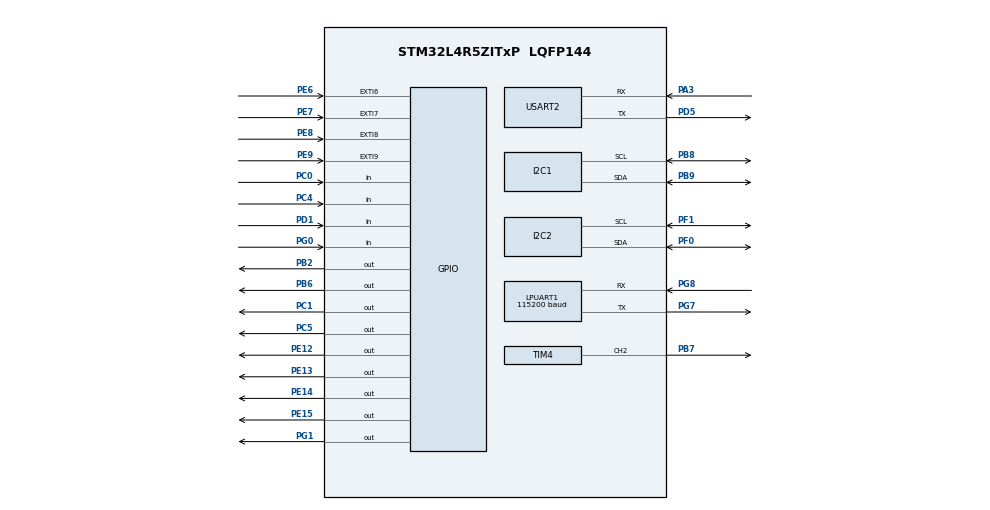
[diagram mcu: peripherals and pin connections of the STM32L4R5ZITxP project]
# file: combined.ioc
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Dma.Request0=USART2_RX
Dma.USART2_RX.0.Direction=DMA_PERIPH_TO_MEMORY
Dma.USART2_RX.0.EventEnable=DISABLE
Dma.USART2_RX.0.Instance=DMA1_Channel1
Dma.USART2_RX.0.MemDataAlignment=DMA_MDATAALIGN_BYTE
Dma.USART2_RX.0.MemInc=DMA_MINC_ENABLE
Dma.USART2_RX.0.Mode=DMA_NORMAL
Dma.USART2_RX.0.PeriphDataAlignment=DMA_PDATAALIGN_BYTE
Dma.USART2_RX.0.PeriphInc=DMA_PINC_DISABLE
Dma.USART2_RX.0.Polarity=HAL_DMAMUX_REQUEST_GEN_RISING
Dma.USART2_RX.0.Priority=DMA_PRIORITY_LOW
Dma.USART2_RX.0.RequestNumber=1
Dma.USART2_RX.0.SignalID=NONE
Dma.USART2_RX.0.SyncEnable=DISABLE
Dma.USART2_RX.0.SyncPolarity=HAL_DMAMUX_SYNC_NO_EVENT
Dma.USART2_RX.0.SyncRequestNumber=1
Dma.USART2_RX.0.SyncSignalID=NONE
I2C2.OwnAddress=10
LPUART1.BaudRate=115200
LPUART1.WordLength=UART_WORDLENGTH_8B
Mcu.Family=STM32L4
Mcu.Name=STM32L4R5ZITxP
Mcu.Package=LQFP144
NVIC.DMA1_Channel1_IRQn=true\:1\:0\:true\:false\:true\:false\:true\:true
NVIC.EXTI9_5_IRQn=true\:0\:0\:false\:false\:true\:true\:true\:true
NVIC.PriorityGroup=NVIC_PRIORITYGROUP_4
PA0.Signal=S_TIM2_CH1
PA1.Signal=ADCx_IN6
PA10.Signal=USB_OTG_FS_ID
PA13\ (JTMS/SWDIO).Mode=Serial_Wire
PA13\ (JTMS/SWDIO).Signal=SYS_JTMS-SWDIO
PA14\ (JTCK/SWCLK).Mode=Serial_Wire
PA14\ (JTCK/SWCLK).Signal=SYS_JTCK-SWCLK
PA3.Mode=Asynchronous
PA3.Signal=USART2_RX
PA4.Signal=SPI1_NSS
PA5.Signal=SPI1_SCK
PA6.Signal=SPI1_MISO
PA7.Signal=SPI1_MOSI
PA8.Signal=USB_OTG_FS_SOF
PA9.Signal=USB_OTG_FS_VBUS
PB0.Signal=S_TIM3_CH3
PB1.Signal=ADCx_IN16
PB10.Signal=S_TIM2_CH3
PB12.Signal=SAI2_FS_A
PB13.Signal=SAI2_SCK_A
PB14.Signal=S_TIM15_CH1
PB15.Signal=SAI2_SD_A
PB2.Signal=GPIO_Output
PB3\ (JTDO/TRACESWO).Signal=SPI3_SCK
PB4\ (NJTRST).Signal=SPI3_MISO
PB5.Signal=SPI3_MOSI
PB6.Signal=GPIO_Output
PB7.Signal=S_TIM4_CH2
PB8.Mode=I2C
PB8.Signal=I2C1_SCL
PB9.Mode=I2C
PB9.Signal=I2C1_SDA
PC0.Signal=GPIO_Input
PC1.Signal=GPIO_Output
PC10.Signal=SDMMC1_D2
PC11.Signal=SDMMC1_D3
PC12.Signal=SDMMC1_CK
PC13.Signal=SYS_WKUP2
PC14-OSC32_IN\ (PC14).Signal=RCC_OSC32_IN
PC15-OSC32_OUT\ (PC15).Signal=RCC_OSC32_OUT
PC2.Signal=ADCx_IN3
PC3.Signal=ADCx_IN4
PC4.Signal=GPIO_Input
PC5.Signal=GPIO_Output
PC6.Signal=SAI2_MCLK_A
PC7.Signal=S_TIM3_CH2
PC8.Signal=SDMMC1_D0
PC9.Signal=SDMMC1_D1
PD0.Signal=CAN1_RX
PD1.Signal=GPIO_Input
PD14.Signal=S_TIM4_CH3
PD15.Signal=S_TIM4_CH4
PD2.Signal=SDMMC1_CMD
PD3.Signal=USART2_CTS
PD4.Signal=USART2_RTS
PD5.Mode=Asynchronous
PD5.Signal=USART2_TX
PD8.Signal=USART3_TX
PD9.Signal=USART3_RX
PE0.Signal=S_TIM4_ETR
PE10.Signal=TIM1_CH2N
PE11.Signal=S_TIM1_CH2
PE12.Signal=GPIO_Output
PE13.Signal=GPIO_Output
PE14.Signal=GPIO_Output
PE15.Signal=GPIO_Output
PE2.Signal=SAI1_MCLK_A
PE3.Signal=SAI1_SD_B
PE6.GPIO_PuPd=GPIO_PULLDOWN
PE6.Signal=GPXTI6
PE7.GPIO_PuPd=GPIO_PULLDOWN
PE7.Signal=GPXTI7
PE8.GPIO_PuPd=GPIO_PULLDOWN
PE8.Signal=GPXTI8
PE9.GPIO_PuPd=GPIO_PULLDOWN
PE9.Signal=GPXTI9
PF0.Mode=I2C
PF0.Signal=I2C2_SDA
PF1.Mode=I2C
PF1.Signal=I2C2_SCL
PF2.Signal=I2C2_SMBA
PF7.Signal=SAI1_MCLK_B
PG0.Signal=GPIO_Input
PG1.Signal=GPIO_Output
PG7.Mode=Asynchronous
PG7.Signal=LPUART1_TX
PG8.Mode=Asynchronous
PG8.Signal=LPUART1_RX
PH0-OSC_IN\ (PH0).Signal=RCC_OSC_IN
PH1-OSC_OUT\ (PH1).Signal=RCC_OSC_OUT
ProjectManager.HeapSize=0x200
ProjectManager.StackSize=0x400
ProjectManager.TargetToolchain=STM32CubeIDE
RCC.HSE_VALUE=8000000
RCC.HSI48_VALUE=48000000
RCC.HSI_VALUE=16000000
RCC.LSE_VALUE=32768
RCC.MSI_VALUE=4000000
RCC.VCOOutputFreq_Value=32000000
SH.ADCx_IN16.0=ADC1_IN16
SH.ADCx_IN3.0=ADC1_IN3
SH.ADCx_IN4.0=ADC1_IN4
SH.ADCx_IN6.0=ADC1_IN6
SH.S_TIM15_CH1.0=TIM15_CH1
SH.S_TIM1_CH2.0=TIM1_CH2
SH.S_TIM2_CH1.0=TIM2_CH1
SH.S_TIM2_CH3.0=TIM2_CH3
SH.S_TIM3_CH2.0=TIM3_CH2
SH.S_TIM3_CH3.0=TIM3_CH3
SH.S_TIM4_CH2.0=TIM4_CH2,PWM Generation2 CH2
SH.S_TIM4_CH3.0=TIM4_CH3
SH.S_TIM4_CH4.0=TIM4_CH4
SH.S_TIM4_ETR.0=TIM4_ETR
TIM4.Channel-PWM\ Generation2\ CH2=TIM_CHANNEL_2
TIM4.Period=3999
TIM4.Prescaler=19
USART2.FIFOMode=FIFOMODE_ENABLE
USART2.VirtualMode-Asynchronous=VM_ASYNC
VP_TIM4_VS_ClockSourceINT.Mode=Internal
board=NUCLEO-L4R5ZI-P

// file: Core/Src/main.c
/* USER CODE BEGIN Header */
/**
 ******************************************************************************
 * @file           : main.c
 * @brief          : Main program body
 ******************************************************************************
 * @attention
 *
 * Copyright (c) 2023 STMicroelectronics.
 * All rights reserved.
 *
 * This software is licensed under terms that can be found in the LICENSE file
 * in the root directory of this software component.
 * If no LICENSE file comes with this software, it is provided AS-IS.
 *
 ******************************************************************************
 */
/* USER CODE END Header */
#include "main.h"

/* USER CODE BEGIN Includes */
#include "HX711.h"
#include "stdio.h"
#include <string.h>
#include <math.h>
#include <stdlib.h>
#include "ssd1306.h"
#include "ssd1306_fonts.h"
#include "ssd1306_conf.h"

/* USER CODE END Includes */

/* USER CODE BEGIN PD */
#define RCC_ADDR 0x40021000
#define RCC_AHB2ENR_OFFSET 0x4C
#define RCC_APB1ENR1_OFFSET 0X58
#define GPIOB_ADDR 0X48000400
#define GPIO_MODER_OFFSET 0X00
#define GPIO_AFRL_OFFSET 0X20
#define GPIO_PUPDR_OFFSET 0X0C

#define TIM4_ADDR 0x40000800//timer 4 base register
#define TIM_CR1_OFFSET 0x00//control register 1
#define TIM_PSC_OFFSET 0x28//prescaler
#define TIM_ARR_OFFSET 0x2C// auto reload value
#define TIM_CCMR1_OFFSET 0x18//capture compare mode register
#define TIM_CCER_OFFSET 0x20//capture/compare enable register
#define TIM_CCR2_OFFSET 0x38//capture/compare register 2
#define CCR_MASK 0xFFFF
#define PAGENUM 2
#define HISTORY 20
/* USER CODE END PD */

/* USER CODE BEGIN PM */
hx711_t food;
hx711_t pet;
hx711_t water;
/* USER CODE END PM */

I2C_HandleTypeDef hi2c1;
I2C_HandleTypeDef hi2c2;

UART_HandleTypeDef hlpuart1;
UART_HandleTypeDef huart2;
DMA_HandleTypeDef hdma_usart2_rx;

TIM_HandleTypeDef htim4;

/* USER CODE BEGIN PV */
// aht10
uint8_t AHT10_RX_Data[6];
uint32_t AHT10_ADC_Raw;
float AHT10_Temperature, AHT10_Humidity;
uint8_t AHT10_TmpHum_Cmd = 0xAC;
#define AHT10_Adress 0x38 << 1
// load cell
float pet_weight[3] = {0,0,0};
float petweight = 0;
float consumed_food = 0; // food consumed in one day, remember to substract remaining food when a day ends and set it to remaining food weight
// after transferring the data, add the remaining food weight to consumed_food, just before the next transmit, subtract the food weight.
float consumed_water = 0;
float history_food[HISTORY];
float history_water[HISTORY];
float history_pet[HISTORY];
float history_temp[HISTORY];
float history_hum[HISTORY];

// keypad
GPIO_InitTypeDef GPIO_InitStructPrivate = {0};
uint32_t previousMillis = 0;
uint32_t currentMillis = 0;
uint8_t keyPressed = 0;
uint8_t is_press = 0;
// status
uint8_t status = 0; // 0: menu, 1: calibration, 2: measurement
uint8_t dirty = 0;
uint8_t page = 0;
uint8_t disPage = 0;
uint8_t hisPage = 0;
uint8_t line[32];
uint8_t petWarning = 0;
double foodFresh = 100;
double waterFresh = 100;
int8_t warningInfo[2] = {0,0};
//timer
TIM_HandleTypeDef htim5;
int timer5_food_count = -1;
int timer5_water_count = -1;
uint8_t buffer[32]={0};
uint8_t ask_for_warning[32]={'%'};

HAL_StatusTypeDef ret;

/* USER CODE END PV */

void SystemClock_Config(void);
static void MX_GPIO_Init(void);
static void MX_DMA_Init(void);
static void MX_LPUART1_UART_Init(void);
static void MX_I2C1_Init(void);
static void MX_TIM4_Init(void);
static void MX_USART2_UART_Init(void);
static void MX_I2C2_Init(void);
/* USER CODE BEGIN PFP */
void HAL_TIM_PeriodElapsedCallback(TIM_HandleTypeDef *htim);
/* USER CODE END PFP */

int main(void)
{
  /* USER CODE BEGIN 1 */
	uint32_t * tim4_ccr2 = (uint32_t *)(TIM4_ADDR + TIM_CCR2_OFFSET);

	for (int i = 0; i < 32; i++) {
		line[i] = 0x20;  // Assign space character to each element
	}

  /* USER CODE END 1 */

  /* MCU Configuration--------------------------------------------------------*/

  /* Reset of all peripherals, Initializes the Flash interface and the Systick. */
  HAL_Init();

  /* Configure the system clock */
  SystemClock_Config();

  /* Initialize all configured peripherals */
  MX_GPIO_Init();
  MX_DMA_Init();
  MX_LPUART1_UART_Init();
  MX_I2C1_Init();
  MX_TIM4_Init();
  MX_USART2_UART_Init();
  MX_I2C2_Init();
  /* USER CODE BEGIN 2 */
	HAL_UART_Receive_DMA(&huart2, buffer, 32);

	HAL_TIM_Base_Start_IT(&htim5);
	hx711_init(&food, GPIOC, GPIO_PIN_1, GPIOC, GPIO_PIN_0); // clk: c1 data: c0
	hx711_init(&water, GPIOG, GPIO_PIN_1, GPIOG, GPIO_PIN_0); // clk: g1 data: g0
	hx711_init(&pet, GPIOC, GPIO_PIN_5, GPIOC, GPIO_PIN_4); // clk: c5 data: c4
	set_scale(&food, 1, 1);
	food.Aoffset = 16190;
	food.Ascale = -722.879456;
	set_scale(&water, 1, 1);
	water.Aoffset = 43813;
	water.Ascale = -741.790161;
	set_scale(&pet, 1, 1);
	pet.Aoffset = 274649;
	pet.Ascale = -53.3035698;

	// initial interrupt
	HAL_GPIO_WritePin(GPIOE, GPIO_PIN_15, 1);
	HAL_GPIO_WritePin(GPIOE, GPIO_PIN_14, 1);
	HAL_GPIO_WritePin(GPIOE, GPIO_PIN_13, 1);
	HAL_GPIO_WritePin(GPIOE, GPIO_PIN_12, 1);

	// display
	char output;
	char buf[20];
	ssd1306_Init();
	ssd1306_SetCursor(2,2);
	output = ssd1306_WriteString(" Initializing... ", Font_7x10, White);
	ssd1306_UpdateScreen();
  /* USER CODE END 2 */

  /* Infinite loop */
  /* USER CODE BEGIN WHILE */
	ssd1306_Init();
	dirty = 1;
	HAL_TIM_PWM_Start(&htim4, TIM_CHANNEL_2);

	while (1)
	{
		if (petWarning)
		{
			uint8_t y = 28;
			if(dirty)
			{
				ssd1306_Init();
				dirty = 0;
			}
			ssd1306_SetCursor(2,2);
			if (petWarning == 1) ssd1306_WriteString("   SUGGESTION   ", Font_7x10, White);
			else ssd1306_WriteString("  !!!WARNING!!!   ", Font_7x10, White);
			ssd1306_SetCursor(2,16);
			ssd1306_WriteString("Yesterday your pet", Font_7x10, White);
			if (warningInfo[0] == 1)
			{
				ssd1306_SetCursor(2,y);
				ssd1306_WriteString("Ate too much!", Font_7x10, White);
				y += 12;
			}
			else if (warningInfo[0] == -1)
			{
				ssd1306_SetCursor(2,y);
				ssd1306_WriteString("Ate too little!", Font_7x10, White);
				y += 12;
			}
			warningInfo[0] = 0;
			if (warningInfo[1] == 1)
			{
				ssd1306_SetCursor(2,y);
				ssd1306_WriteString("Drank too much!", Font_7x10, White);
				y += 12;
			}
			else if (warningInfo[1] == -1)
			{
				ssd1306_SetCursor(2,y);
				ssd1306_WriteString("Drank too little!", Font_7x10, White);
				y += 12;
			}
			ssd1306_SetCursor(2,52);
			ssd1306_WriteString("ENTER-Continue", Font_7x10, White);
			ssd1306_UpdateScreen();
			warningInfo[1] = 0;
			if (is_press && keyPressed == 35)
			{
				petWarning = 0;
				is_press = 0;
				dirty = 1;
			}
		}
		else if (foodFresh < 0 || waterFresh < 0)
		{
			if (dirty)
			{
				ssd1306_Init();
				dirty = 0;
			}
			uint8_t y = 16;
			if (foodFresh < 0)
			{
				ssd1306_SetCursor(2,y);
				ssd1306_WriteString("Food not fresh!", Font_7x10, White);
				y += 12;
			}
			if (waterFresh < 0)
			{
				ssd1306_SetCursor(2,y);
				ssd1306_WriteString("Water not fresh!", Font_7x10, White);
				y += 12;
			}
			ssd1306_SetCursor(2,52);
			ssd1306_WriteString("ENTER-Continue", Font_7x10, White);
			ssd1306_UpdateScreen();
			if (is_press && keyPressed == 35)
			{
				if (foodFresh < 0)foodFresh = 100;
				if (waterFresh < 0)waterFresh = 100;
				is_press = 0;
			}
		}
		else
		{
			if (is_press)
			{
				if (status == 0 && !dirty)
				{
					if (keyPressed == 35)
					{
						page = (page + 1) % PAGENUM;
					}
				}
				if (status == 4 && !dirty)
				{
					if (keyPressed == 35)
					{
						disPage = (disPage + 1) % 3;
					}
				}
				if (status == 5 && !dirty)
				{
					if (keyPressed == 49) // 1: food
					{
						calibrate(&food);
						status = 0;
					}
					else if (keyPressed == 50) //2: water
					{
						calibrate(&water);
						status = 0;
					}
					else if (keyPressed == 51) //3. pet
					{
						calibrate(&pet);
						status = 0;
					}
				}
				if (status == 6 && !dirty)
				{
					if (keyPressed == 35)
					{
						hisPage = (hisPage + 1) % HISTORY;
					}
					else if (keyPressed == 42)
					{
						hisPage = (hisPage + HISTORY - 1) % HISTORY;
					}
				}
				switch (keyPressed)
				{
				case 65: // A
					break;
				case 66: // B
					HAL_UART_Transmit(&huart2, ask_for_warning, 32, 500);
					HAL_Delay(15000);
					break;
				case 67: // C
					//				HAL_UART_Transmit(&huart2, line, 32, 500);
					//				HAL_UART_Transmit(&huart2, data, 32, 500);

					HAL_Delay(2000);
					//				ret = HAL_I2C_Slave_Receive(&hi2c2, buffer, 32, 400);
					break;
				case 68: // D
					status = 0;
					break;
				case 48: // 0

					break;
				case 49: // 1
					status = 1;
					break;
				case 50: // 2
					status = 2;
					break;
				case 51: // 3
					status = 3;
					break;
				case 52: // 4
					status = 4;
					break;
				case 53: // 5
					status = 5;
					break;
				case 54: // 6
					status = 6;
					hisPage = 0;
					break;
				case 55: // 7
					status = 7;
					break;
				case 56: // 8
					break;
				case 57: // 9

					break;
				case 42: // *

					break;
				case 35: // #

					break;
				}
				dirty = 1;
				is_press = 0;
				keyPressed = 0;
			}

			if (status == 0) {
				display_menu();
				pet_weight[2] = pet_weight[1];
				pet_weight[1] = pet_weight[0];
				pet_weight[0] = get_weight(&pet, 10, CHANNEL_A); //get weight
				float average = (pet_weight[2] + pet_weight[1] + pet_weight[0]) / 3.0;
				if (((abs(pet_weight[2] - average)+abs(pet_weight[1] - average)+abs(pet_weight[0] - average)) < (average / 10.0)) && average > 50)
					petweight = floor(pet_weight[1]*10)/10.0;
			}

			else if (status == 5) {
				if (dirty)
				{
					ssd1306_Init();
					ssd1306_SetCursor(0,2);
					ssd1306_WriteString("    Calibration    ", Font_7x10, White);
					ssd1306_SetCursor(2,16);
					ssd1306_WriteString("1-Food Load Cell", Font_7x10, White);
					ssd1306_SetCursor(2,28);
					ssd1306_WriteString("2-Water Load Cell", Font_7x10, White);
					ssd1306_SetCursor(2,40);
					ssd1306_WriteString("3-Pet Load Cell", Font_7x10, White);

					ssd1306_UpdateScreen();
					dirty = 0;
				}
			}

			else if (status == 4) {
				if (dirty)
				{
					ssd1306_Init();
					ssd1306_SetCursor(2,2);
					output = ssd1306_WriteString("PET FEEDER STATUS ", Font_7x10, White);
					ssd1306_UpdateScreen();
					dirty = 0;
				}

				pet_weight[2] = pet_weight[1];
				pet_weight[1] = pet_weight[0];
				pet_weight[0] = get_weight(&pet, 10, CHANNEL_A); //get weight
				float average = (pet_weight[2] + pet_weight[1] + pet_weight[0]) / 3.0;
				if (((abs(pet_weight[2] - average)+abs(pet_weight[1] - average)+abs(pet_weight[0] - average)) < (average / 10.0)) && average > 50)
					petweight = floor(pet_weight[1]*10)/10.0;

				if (disPage == 0)
				{
					float food_weight = floor(get_weight(&food, 10, CHANNEL_A) * 10) / 10.0; //get weight
					float water_weight = floor(get_weight(&water, 10, CHANNEL_A) * 10) / 10.0; //get weight
					gcvt(food_weight, 6, buf);
					ssd1306_SetCursor(2,16);
					output = ssd1306_WriteString("Food: ", Font_7x10, White);
					output = ssd1306_WriteString(buf, Font_7x10, White);
					output = ssd1306_WriteString(" g            ", Font_7x10, White);
					gcvt(water_weight, 6, buf);
					ssd1306_SetCursor(2,28);
					output = ssd1306_WriteString("Water: ", Font_7x10, White);
					output = ssd1306_WriteString(buf, Font_7x10, White);
					output = ssd1306_WriteString(" g            ", Font_7x10, White);
					gcvt(petweight, 6, buf);
					ssd1306_SetCursor(2,40);
					output = ssd1306_WriteString("Pet: ", Font_7x10, White);
					output = ssd1306_WriteString(buf, Font_7x10, White);
					output = ssd1306_WriteString(" g            ", Font_7x10, White);
					gcvt(AHT10_Temperature, 3, buf);
					ssd1306_SetCursor(2,52);
					ssd1306_WriteString("ENTER-Next Page", Font_7x10, White);
				}
				else if (disPage == 1)
				{
					HAL_I2C_Master_Transmit(&hi2c1, AHT10_Adress, &AHT10_TmpHum_Cmd, 1, 100);
					HAL_Delay(1000);
					HAL_I2C_Master_Receive(&hi2c1, AHT10_Adress, (uint8_t*)AHT10_RX_Data, 6, 100);
					/* Convert to Temperature in °C */
					AHT10_ADC_Raw = (((uint32_t)AHT10_RX_Data[3] & 15) << 16) | ((uint32_t)AHT10_RX_Data[4] << 8) | AHT10_RX_Data[5];
					AHT10_Temperature = (float)floor(((AHT10_ADC_Raw * 200.00 / 1048576.00) - 50.00) * 10) / 10.0;
					AHT10_ADC_Raw = ((uint32_t)AHT10_RX_Data[1] << 12) | ((uint32_t)AHT10_RX_Data[2] << 4) | (AHT10_RX_Data[3] >> 4);
					AHT10_Humidity = (float)floor((AHT10_ADC_Raw*100.00/1048576.00) * 10) / 10.0;
					gcvt(AHT10_Temperature, 3, buf);
					ssd1306_SetCursor(2,16);
					output = ssd1306_WriteString("Temp: ", Font_7x10, White);
					output = ssd1306_WriteString(buf, Font_7x10, White);
					output = ssd1306_WriteString(" C             ", Font_7x10, White);
					gcvt(AHT10_Humidity, 3, buf);
					ssd1306_SetCursor(2,28);
					output = ssd1306_WriteString("Humidity: ", Font_7x10, White);
					output = ssd1306_WriteString(buf, Font_7x10, White);
					output = ssd1306_WriteString(" %            ", Font_7x10, White);
					ssd1306_SetCursor(2,52);
					ssd1306_WriteString("ENTER-Next Page", Font_7x10, White);
				}
				else if (disPage == 2)
				{
					gcvt(foodFresh, 4, buf);
					ssd1306_SetCursor(2,16);
					output = ssd1306_WriteString("Food Fresh:", Font_6x8, White);
					output = ssd1306_WriteString(buf, Font_7x10, White);
					output = ssd1306_WriteString(" %             ", Font_7x10, White);
					gcvt(waterFresh, 4, buf);
					ssd1306_SetCursor(2,28);
					output = ssd1306_WriteString("Water Fresh:", Font_6x8, White);
					output = ssd1306_WriteString(buf, Font_7x10, White);
					output = ssd1306_WriteString(" %            ", Font_7x10, White);
					ssd1306_SetCursor(2,52);
					ssd1306_WriteString("ENTER-Next Page", Font_7x10, White);
				}
				ssd1306_UpdateScreen();
			}

			else if (status == 1) {
				release_food(tim4_ccr2);
				status = 0;
			}

			else if (status == 2) {
				release_water();
				status = 0;
			}

			else if (status == 3){
				if(dirty)
				{
					ssd1306_Init();
					dirty = 0;
				}
				float food_weight0 = floor(get_weight(&food, 10, CHANNEL_A) * 10) / 10.0;
				float water_weight0 = floor(get_weight(&water, 10, CHANNEL_A) * 10) / 10.0;
				ssd1306_SetCursor(2,16);
				ssd1306_WriteString("ADD FOOD & WATER", Font_7x10, White);
				ssd1306_SetCursor(2,28);
				ssd1306_WriteString("THEN PRESS ENTER", Font_7x10, White);
				ssd1306_UpdateScreen();
				dirty = 1;
				while(1)
				{
					if (is_press && keyPressed == 35)
					{
						float food_weight1 = floor(get_weight(&food, 10, CHANNEL_A) * 10) / 10.0;
						float water_weight1 = floor(get_weight(&water, 10, CHANNEL_A) * 10) / 10.0;
						consumed_food = consumed_food + food_weight1 - food_weight0;
						consumed_water = consumed_water + water_weight1 - water_weight0;
						status = 0;
						break;
					}
					else if (is_press && keyPressed == 68)
					{
						status = 0;
						break;
					}
				}
			}

			else if (status == 6)
			{
				if(dirty)
				{
					ssd1306_Init();
					dirty = 0;
				}
				gcvt(history_food[hisPage], 6, buf);
				ssd1306_SetCursor(2,2);
				output = ssd1306_WriteString("food: ", Font_7x10, White);
				output = ssd1306_WriteString(buf, Font_7x10, White);
				output = ssd1306_WriteString(" g            ", Font_7x10, White);
				gcvt(history_water[hisPage], 6, buf);
				ssd1306_SetCursor(2,16);
				output = ssd1306_WriteString("water: ", Font_7x10, White);
				output = ssd1306_WriteString(buf, Font_7x10, White);
				output = ssd1306_WriteString(" g            ", Font_7x10, White);
				gcvt(history_pet[hisPage], 6, buf);
				ssd1306_SetCursor(2,28);
				output = ssd1306_WriteString("pet: ", Font_7x10, White);
				output = ssd1306_WriteString(buf, Font_7x10, White);
				output = ssd1306_WriteString(" g            ", Font_7x10, White);
				gcvt(history_temp[hisPage], 3, buf);
				ssd1306_SetCursor(2,40);
				output = ssd1306_WriteString("temp: ", Font_7x10, White);
				output = ssd1306_WriteString(buf, Font_7x10, White);
				output = ssd1306_WriteString(" C             ", Font_7x10, White);
				gcvt(history_hum[hisPage], 3, buf);
				ssd1306_SetCursor(2,52);
				output = ssd1306_WriteString("humidity: ", Font_7x10, White);
				output = ssd1306_WriteString(buf, Font_7x10, White);
				output = ssd1306_WriteString(" %            ", Font_7x10, White);
				ssd1306_UpdateScreen();
			}
			else if (status == 7) // store the data
			{
				for (int i= HISTORY - 2; i>=0; i--)
				{
					history_food[i+1] = history_food[i];
					history_water[i+1] = history_water[i];
					history_pet[i+1] = history_pet[i];
					history_temp[i+1] = history_temp[i];
					history_hum[i+1] = 	history_hum[i];
				}
				float food_weight = floor(get_weight(&food, 10, CHANNEL_A) * 10) / 10.0; // weight*10
				float water_weight = floor(get_weight(&water, 10, CHANNEL_A) * 10) / 10.0;
				HAL_I2C_Master_Receive(&hi2c1, AHT10_Adress, (uint8_t*)AHT10_RX_Data, 6, 100);
				AHT10_ADC_Raw = (((uint32_t)AHT10_RX_Data[3] & 15) << 16) | ((uint32_t)AHT10_RX_Data[4] << 8) | AHT10_RX_Data[5];
				float AHT10_Temp = floor(((AHT10_ADC_Raw * 200.00 / 1048576.00) - 50.00) * 10) / 10.0;
				AHT10_ADC_Raw = ((uint32_t)AHT10_RX_Data[1] << 12) | ((uint32_t)AHT10_RX_Data[2] << 4) | (AHT10_RX_Data[3] >> 4);
				float AHT10_Humid = floor((AHT10_ADC_Raw*100.00/1048576.00) * 10) / 10.0;

				//			int petweight0 = floor(petweight * 10);
				//			int consumedfood = floor(consumed_food*10);
				//			int consumedwater = floor(consumed_water*10);
				history_food[0] = consumed_food - food_weight;
				history_water[0] = consumed_water - water_weight;
				history_pet[0] = petweight;
				history_temp[0] = AHT10_Temp;
				history_hum[0] = 	AHT10_Humid;
				consumed_food = food_weight;
				consumed_water = water_weight;
				float foodRatio = (history_food[1] + history_food[2] + history_food[3] + history_food[4] + 0.1)/history_food[0];
				float waterRatio = (history_water[1] + history_water[2] + history_water[3] + history_water[4] + 0.1)/history_water[0];
				if (foodRatio > 1.4*4) {warningInfo[0] = -1; ++petWarning;}
				if (foodRatio > 2*4) {warningInfo[0] = -1; petWarning+=10;}
				if (foodRatio < 0.7*4) {warningInfo[0] = 1; ++petWarning;}
				if (foodRatio < 0.5*4) {warningInfo[0] = 1; petWarning+=10;}
				if (waterRatio > 1.4*4) {warningInfo[1] = -1; ++petWarning;}
				if (waterRatio > 2*4) {warningInfo[1] = -1; petWarning+=10;}
				if (waterRatio < 0.7*4) {warningInfo[1] = 1; ++petWarning;}
				if (waterRatio < 0.5*4) {warningInfo[1] = 1; petWarning+=10;}
				waterFresh = floor((waterFresh - ((AHT10_Temp + 40)*(AHT10_Temp + 40)/60.0))*10) / 10.0;
				foodFresh = floor((foodFresh - ((AHT10_Temp + 40)*(AHT10_Temp + 40)*(AHT10_Humid + 50) / 20000.0))*10)/10.0;
				status = 0;
			}
		}
    /* USER CODE END WHILE */

	}
}

void SystemClock_Config(void)
{
  RCC_OscInitTypeDef RCC_OscInitStruct = {0};
  RCC_ClkInitTypeDef RCC_ClkInitStruct = {0};

  /** Configure the main internal regulator output voltage
  */
  if (HAL_PWREx_ControlVoltageScaling(PWR_REGULATOR_VOLTAGE_SCALE1) != HAL_OK)
  {
    Error_Handler();
  }

  /** Initializes the RCC Oscillators according to the specified parameters
  * in the RCC_OscInitTypeDef structure.
  */
  RCC_OscInitStruct.OscillatorType = RCC_OSCILLATORTYPE_MSI;
  RCC_OscInitStruct.MSIState = RCC_MSI_ON;
  RCC_OscInitStruct.MSICalibrationValue = 0;
  RCC_OscInitStruct.MSIClockRange = RCC_MSIRANGE_6;
  RCC_OscInitStruct.PLL.PLLState = RCC_PLL_NONE;
  if (HAL_RCC_OscConfig(&RCC_OscInitStruct) != HAL_OK)
  {
    Error_Handler();
  }

  /** Initializes the CPU, AHB and APB buses clocks
  */
  RCC_ClkInitStruct.ClockType = RCC_CLOCKTYPE_HCLK|RCC_CLOCKTYPE_SYSCLK
                              |RCC_CLOCKTYPE_PCLK1|RCC_CLOCKTYPE_PCLK2;
  RCC_ClkInitStruct.SYSCLKSource = RCC_SYSCLKSOURCE_MSI;
  RCC_ClkInitStruct.AHBCLKDivider = RCC_SYSCLK_DIV1;
  RCC_ClkInitStruct.APB1CLKDivider = RCC_HCLK_DIV1;
  RCC_ClkInitStruct.APB2CLKDivider = RCC_HCLK_DIV1;

  if (HAL_RCC_ClockConfig(&RCC_ClkInitStruct, FLASH_LATENCY_0) != HAL_OK)
  {
    Error_Handler();
  }
}

static void MX_I2C1_Init(void)
{

  hi2c1.Instance = I2C1;
  hi2c1.Init.Timing = 0x00000E14;
  hi2c1.Init.OwnAddress1 = 0;
  hi2c1.Init.AddressingMode = I2C_ADDRESSINGMODE_7BIT;
  hi2c1.Init.DualAddressMode = I2C_DUALADDRESS_DISABLE;
  hi2c1.Init.OwnAddress2 = 0;
  hi2c1.Init.OwnAddress2Masks = I2C_OA2_NOMASK;
  hi2c1.Init.GeneralCallMode = I2C_GENERALCALL_DISABLE;
  hi2c1.Init.NoStretchMode = I2C_NOSTRETCH_DISABLE;
  if (HAL_I2C_Init(&hi2c1) != HAL_OK)
  {
    Error_Handler();
  }

  /** Configure Analogue filter
  */
  if (HAL_I2CEx_ConfigAnalogFilter(&hi2c1, I2C_ANALOGFILTER_ENABLE) != HAL_OK)
  {
    Error_Handler();
  }

  /** Configure Digital filter
  */
  if (HAL_I2CEx_ConfigDigitalFilter(&hi2c1, 0) != HAL_OK)
  {
    Error_Handler();
  }

}

static void MX_I2C2_Init(void)
{

  hi2c2.Instance = I2C2;
  hi2c2.Init.Timing = 0x00000E14;
  hi2c2.Init.OwnAddress1 = 20;
  hi2c2.Init.AddressingMode = I2C_ADDRESSINGMODE_7BIT;
  hi2c2.Init.DualAddressMode = I2C_DUALADDRESS_DISABLE;
  hi2c2.Init.OwnAddress2 = 0;
  hi2c2.Init.OwnAddress2Masks = I2C_OA2_NOMASK;
  hi2c2.Init.GeneralCallMode = I2C_GENERALCALL_DISABLE;
  hi2c2.Init.NoStretchMode = I2C_NOSTRETCH_DISABLE;
  if (HAL_I2C_Init(&hi2c2) != HAL_OK)
  {
    Error_Handler();
  }

  /** Configure Analogue filter
  */
  if (HAL_I2CEx_ConfigAnalogFilter(&hi2c2, I2C_ANALOGFILTER_ENABLE) != HAL_OK)
  {
    Error_Handler();
  }

  /** Configure Digital filter
  */
  if (HAL_I2CEx_ConfigDigitalFilter(&hi2c2, 0) != HAL_OK)
  {
    Error_Handler();
  }

}

static void MX_LPUART1_UART_Init(void)
{

  hlpuart1.Instance = LPUART1;
  hlpuart1.Init.BaudRate = 115200;
  hlpuart1.Init.WordLength = UART_WORDLENGTH_8B;
  hlpuart1.Init.StopBits = UART_STOPBITS_1;
  hlpuart1.Init.Parity = UART_PARITY_NONE;
  hlpuart1.Init.Mode = UART_MODE_TX_RX;
  hlpuart1.Init.HwFlowCtl = UART_HWCONTROL_NONE;
  hlpuart1.Init.OneBitSampling = UART_ONE_BIT_SAMPLE_DISABLE;
  hlpuart1.Init.ClockPrescaler = UART_PRESCALER_DIV1;
  hlpuart1.AdvancedInit.AdvFeatureInit = UART_ADVFEATURE_NO_INIT;
  hlpuart1.FifoMode = UART_FIFOMODE_DISABLE;
  if (HAL_UART_Init(&hlpuart1) != HAL_OK)
  {
    Error_Handler();
  }
  if (HAL_UARTEx_SetTxFifoThreshold(&hlpuart1, UART_TXFIFO_THRESHOLD_1_8) != HAL_OK)
  {
    Error_Handler();
  }
  if (HAL_UARTEx_SetRxFifoThreshold(&hlpuart1, UART_RXFIFO_THRESHOLD_1_8) != HAL_OK)
  {
    Error_Handler();
  }
  if (HAL_UARTEx_DisableFifoMode(&hlpuart1) != HAL_OK)
  {
    Error_Handler();
  }

}

static void MX_USART2_UART_Init(void)
{

  huart2.Instance = USART2;
  huart2.Init.BaudRate = 115200;
  huart2.Init.WordLength = UART_WORDLENGTH_8B;
  huart2.Init.StopBits = UART_STOPBITS_1;
  huart2.Init.Parity = UART_PARITY_NONE;
  huart2.Init.Mode = UART_MODE_TX_RX;
  huart2.Init.HwFlowCtl = UART_HWCONTROL_NONE;
  huart2.Init.OverSampling = UART_OVERSAMPLING_16;
  huart2.Init.OneBitSampling = UART_ONE_BIT_SAMPLE_DISABLE;
  huart2.Init.ClockPrescaler = UART_PRESCALER_DIV1;
  huart2.AdvancedInit.AdvFeatureInit = UART_ADVFEATURE_NO_INIT;
  if (HAL_UART_Init(&huart2) != HAL_OK)
  {
    Error_Handler();
  }
  if (HAL_UARTEx_SetTxFifoThreshold(&huart2, UART_TXFIFO_THRESHOLD_1_8) != HAL_OK)
  {
    Error_Handler();
  }
  if (HAL_UARTEx_SetRxFifoThreshold(&huart2, UART_RXFIFO_THRESHOLD_1_8) != HAL_OK)
  {
    Error_Handler();
  }
  if (HAL_UARTEx_EnableFifoMode(&huart2) != HAL_OK)
  {
    Error_Handler();
  }

}

static void MX_TIM4_Init(void)
{

  TIM_ClockConfigTypeDef sClockSourceConfig = {0};
  TIM_MasterConfigTypeDef sMasterConfig = {0};
  TIM_OC_InitTypeDef sConfigOC = {0};

  htim4.Instance = TIM4;
  htim4.Init.Prescaler = 19;
  htim4.Init.CounterMode = TIM_COUNTERMODE_UP;
  htim4.Init.Period = 3999;
  htim4.Init.ClockDivision = TIM_CLOCKDIVISION_DIV1;
  htim4.Init.AutoReloadPreload = TIM_AUTORELOAD_PRELOAD_DISABLE;
  if (HAL_TIM_Base_Init(&htim4) != HAL_OK)
  {
    Error_Handler();
  }
  sClockSourceConfig.ClockSource = TIM_CLOCKSOURCE_INTERNAL;
  if (HAL_TIM_ConfigClockSource(&htim4, &sClockSourceConfig) != HAL_OK)
  {
    Error_Handler();
  }
  if (HAL_TIM_PWM_Init(&htim4) != HAL_OK)
  {
    Error_Handler();
  }
  sMasterConfig.MasterOutputTrigger = TIM_TRGO_RESET;
  sMasterConfig.MasterSlaveMode = TIM_MASTERSLAVEMODE_DISABLE;
  if (HAL_TIMEx_MasterConfigSynchronization(&htim4, &sMasterConfig) != HAL_OK)
  {
    Error_Handler();
  }
  sConfigOC.OCMode = TIM_OCMODE_PWM1;
  sConfigOC.Pulse = 0;
  sConfigOC.OCPolarity = TIM_OCPOLARITY_HIGH;
  sConfigOC.OCFastMode = TIM_OCFAST_DISABLE;
  if (HAL_TIM_PWM_ConfigChannel(&htim4, &sConfigOC, TIM_CHANNEL_2) != HAL_OK)
  {
    Error_Handler();
  }
  HAL_TIM_MspPostInit(&htim4);

}

static void MX_DMA_Init(void)
{

  /* DMA controller clock enable */
  __HAL_RCC_DMAMUX1_CLK_ENABLE();
  __HAL_RCC_DMA1_CLK_ENABLE();

  /* DMA interrupt init */
  /* DMA1_Channel1_IRQn interrupt configuration */
  HAL_NVIC_SetPriority(DMA1_Channel1_IRQn, 1, 0);
  HAL_NVIC_EnableIRQ(DMA1_Channel1_IRQn);

}

static void MX_GPIO_Init(void)
{
  GPIO_InitTypeDef GPIO_InitStruct = {0};

  /* GPIO Ports Clock Enable */
  __HAL_RCC_GPIOE_CLK_ENABLE();
  __HAL_RCC_GPIOC_CLK_ENABLE();
  __HAL_RCC_GPIOF_CLK_ENABLE();
  __HAL_RCC_GPIOH_CLK_ENABLE();
  __HAL_RCC_GPIOA_CLK_ENABLE();
  __HAL_RCC_GPIOB_CLK_ENABLE();
  __HAL_RCC_GPIOG_CLK_ENABLE();
  __HAL_RCC_GPIOD_CLK_ENABLE();
  HAL_PWREx_EnableVddIO2();

  /*Configure GPIO pin Output Level */
  HAL_GPIO_WritePin(GPIOC, GPIO_PIN_1|GPIO_PIN_5, GPIO_PIN_RESET);

  /*Configure GPIO pin Output Level */
  HAL_GPIO_WritePin(GPIOB, GPIO_PIN_2|GPIO_PIN_6, GPIO_PIN_RESET);

  /*Configure GPIO pin Output Level */
  HAL_GPIO_WritePin(GPIOG, GPIO_PIN_1, GPIO_PIN_RESET);

  /*Configure GPIO pin Output Level */
  HAL_GPIO_WritePin(GPIOE, GPIO_PIN_12|GPIO_PIN_13|GPIO_PIN_14|GPIO_PIN_15, GPIO_PIN_RESET);

  /*Configure GPIO pins : PE2 PE3 */
  GPIO_InitStruct.Pin = GPIO_PIN_2|GPIO_PIN_3;
  GPIO_InitStruct.Mode = GPIO_MODE_AF_PP;
  GPIO_InitStruct.Pull = GPIO_NOPULL;
  GPIO_InitStruct.Speed = GPIO_SPEED_FREQ_LOW;
  GPIO_InitStruct.Alternate = GPIO_AF13_SAI1;
  HAL_GPIO_Init(GPIOE, &GPIO_InitStruct);

  /*Configure GPIO pins : PE6 PE7 PE8 PE9 */
  GPIO_InitStruct.Pin = GPIO_PIN_6|GPIO_PIN_7|GPIO_PIN_8|GPIO_PIN_9;
  GPIO_InitStruct.Mode = GPIO_MODE_IT_RISING;
  GPIO_InitStruct.Pull = GPIO_PULLDOWN;
  HAL_GPIO_Init(GPIOE, &GPIO_InitStruct);

  /*Configure GPIO pin : PF7 */
  GPIO_InitStruct.Pin = GPIO_PIN_7;
  GPIO_InitStruct.Mode = GPIO_MODE_AF_PP;
  GPIO_InitStruct.Pull = GPIO_NOPULL;
  GPIO_InitStruct.Speed = GPIO_SPEED_FREQ_LOW;
  GPIO_InitStruct.Alternate = GPIO_AF13_SAI1;
  HAL_GPIO_Init(GPIOF, &GPIO_InitStruct);

  /*Configure GPIO pins : PC0 PC4 */
  GPIO_InitStruct.Pin = GPIO_PIN_0|GPIO_PIN_4;
  GPIO_InitStruct.Mode = GPIO_MODE_INPUT;
  GPIO_InitStruct.Pull = GPIO_NOPULL;
  HAL_GPIO_Init(GPIOC, &GPIO_InitStruct);

  /*Configure GPIO pins : PC1 PC5 */
  GPIO_InitStruct.Pin = GPIO_PIN_1|GPIO_PIN_5;
  GPIO_InitStruct.Mode = GPIO_MODE_OUTPUT_PP;
  GPIO_InitStruct.Pull = GPIO_NOPULL;
  GPIO_InitStruct.Speed = GPIO_SPEED_FREQ_LOW;
  HAL_GPIO_Init(GPIOC, &GPIO_InitStruct);

  /*Configure GPIO pins : PC2 PC3 */
  GPIO_InitStruct.Pin = GPIO_PIN_2|GPIO_PIN_3;
  GPIO_InitStruct.Mode = GPIO_MODE_ANALOG_ADC_CONTROL;
  GPIO_InitStruct.Pull = GPIO_NOPULL;
  HAL_GPIO_Init(GPIOC, &GPIO_InitStruct);

  /*Configure GPIO pin : PA0 */
  GPIO_InitStruct.Pin = GPIO_PIN_0;
  GPIO_InitStruct.Mode = GPIO_MODE_AF_PP;
  GPIO_InitStruct.Pull = GPIO_NOPULL;
  GPIO_InitStruct.Speed = GPIO_SPEED_FREQ_LOW;
  GPIO_InitStruct.Alternate = GPIO_AF1_TIM2;
  HAL_GPIO_Init(GPIOA, &GPIO_InitStruct);

  /*Configure GPIO pin : PA1 */
  GPIO_InitStruct.Pin = GPIO_PIN_1;
  GPIO_InitStruct.Mode = GPIO_MODE_ANALOG_ADC_CONTROL;
  GPIO_InitStruct.Pull = GPIO_NOPULL;
  HAL_GPIO_Init(GPIOA, &GPIO_InitStruct);

  /*Configure GPIO pins : PA4 PA5 PA6 PA7 */
  GPIO_InitStruct.Pin = GPIO_PIN_4|GPIO_PIN_5|GPIO_PIN_6|GPIO_PIN_7;
  GPIO_InitStruct.Mode = GPIO_MODE_AF_PP;
  GPIO_InitStruct.Pull = GPIO_NOPULL;
  GPIO_InitStruct.Speed = GPIO_SPEED_FREQ_VERY_HIGH;
  GPIO_InitStruct.Alternate = GPIO_AF5_SPI1;
  HAL_GPIO_Init(GPIOA, &GPIO_InitStruct);

  /*Configure GPIO pin : PB0 */
  GPIO_InitStruct.Pin = GPIO_PIN_0;
  GPIO_InitStruct.Mode = GPIO_MODE_AF_PP;
  GPIO_InitStruct.Pull = GPIO_NOPULL;
  GPIO_InitStruct.Speed = GPIO_SPEED_FREQ_LOW;
  GPIO_InitStruct.Alternate = GPIO_AF2_TIM3;
  HAL_GPIO_Init(GPIOB, &GPIO_InitStruct);

  /*Configure GPIO pin : PB1 */
  GPIO_InitStruct.Pin = GPIO_PIN_1;
  GPIO_InitStruct.Mode = GPIO_MODE_ANALOG_ADC_CONTROL;
  GPIO_InitStruct.Pull = GPIO_NOPULL;
  HAL_GPIO_Init(GPIOB, &GPIO_InitStruct);

  /*Configure GPIO pins : PB2 PB6 */
  GPIO_InitStruct.Pin = GPIO_PIN_2|GPIO_PIN_6;
  GPIO_InitStruct.Mode = GPIO_MODE_OUTPUT_PP;
  GPIO_InitStruct.Pull = GPIO_NOPULL;
  GPIO_InitStruct.Speed = GPIO_SPEED_FREQ_LOW;
  HAL_GPIO_Init(GPIOB, &GPIO_InitStruct);

  /*Configure GPIO pin : PG0 */
  GPIO_InitStruct.Pin = GPIO_PIN_0;
  GPIO_InitStruct.Mode = GPIO_MODE_INPUT;
  GPIO_InitStruct.Pull = GPIO_NOPULL;
  HAL_GPIO_Init(GPIOG, &GPIO_InitStruct);

  /*Configure GPIO pin : PG1 */
  GPIO_InitStruct.Pin = GPIO_PIN_1;
  GPIO_InitStruct.Mode = GPIO_MODE_OUTPUT_PP;
  GPIO_InitStruct.Pull = GPIO_NOPULL;
  GPIO_InitStruct.Speed = GPIO_SPEED_FREQ_LOW;
  HAL_GPIO_Init(GPIOG, &GPIO_InitStruct);

  /*Configure GPIO pins : PE10 PE11 */
  GPIO_InitStruct.Pin = GPIO_PIN_10|GPIO_PIN_11;
  GPIO_InitStruct.Mode = GPIO_MODE_AF_PP;
  GPIO_InitStruct.Pull = GPIO_NOPULL;
  GPIO_InitStruct.Speed = GPIO_SPEED_FREQ_LOW;
  GPIO_InitStruct.Alternate = GPIO_AF1_TIM1;
  HAL_GPIO_Init(GPIOE, &GPIO_InitStruct);

  /*Configure GPIO pins : PE12 PE13 PE14 PE15 */
  GPIO_InitStruct.Pin = GPIO_PIN_12|GPIO_PIN_13|GPIO_PIN_14|GPIO_PIN_15;
  GPIO_InitStruct.Mode = GPIO_MODE_OUTPUT_PP;
  GPIO_InitStruct.Pull = GPIO_NOPULL;
  GPIO_InitStruct.Speed = GPIO_SPEED_FREQ_LOW;
  HAL_GPIO_Init(GPIOE, &GPIO_InitStruct);

  /*Configure GPIO pin : PB10 */
  GPIO_InitStruct.Pin = GPIO_PIN_10;
  GPIO_InitStruct.Mode = GPIO_MODE_AF_PP;
  GPIO_InitStruct.Pull = GPIO_NOPULL;
  GPIO_InitStruct.Speed = GPIO_SPEED_FREQ_LOW;
  GPIO_InitStruct.Alternate = GPIO_AF1_TIM2;
  HAL_GPIO_Init(GPIOB, &GPIO_InitStruct);

  /*Configure GPIO pins : PB12 PB13 PB15 */
  GPIO_InitStruct.Pin = GPIO_PIN_12|GPIO_PIN_13|GPIO_PIN_15;
  GPIO_InitStruct.Mode = GPIO_MODE_AF_PP;
  GPIO_InitStruct.Pull = GPIO_NOPULL;
  GPIO_InitStruct.Speed = GPIO_SPEED_FREQ_LOW;
  GPIO_InitStruct.Alternate = GPIO_AF13_SAI2;
  HAL_GPIO_Init(GPIOB, &GPIO_InitStruct);

  /*Configure GPIO pin : PB14 */
  GPIO_InitStruct.Pin = GPIO_PIN_14;
  GPIO_InitStruct.Mode = GPIO_MODE_AF_PP;
  GPIO_InitStruct.Pull = GPIO_NOPULL;
  GPIO_InitStruct.Speed = GPIO_SPEED_FREQ_LOW;
  GPIO_InitStruct.Alternate = GPIO_AF14_TIM15;
  HAL_GPIO_Init(GPIOB, &GPIO_InitStruct);

  /*Configure GPIO pins : PD8 PD9 */
  GPIO_InitStruct.Pin = GPIO_PIN_8|GPIO_PIN_9;
  GPIO_InitStruct.Mode = GPIO_MODE_AF_PP;
  GPIO_InitStruct.Pull = GPIO_NOPULL;
  GPIO_InitStruct.Speed = GPIO_SPEED_FREQ_VERY_HIGH;
  GPIO_InitStruct.Alternate = GPIO_AF7_USART3;
  HAL_GPIO_Init(GPIOD, &GPIO_InitStruct);

  /*Configure GPIO pin : PC6 */
  GPIO_InitStruct.Pin = GPIO_PIN_6;
  GPIO_InitStruct.Mode = GPIO_MODE_AF_PP;
  GPIO_InitStruct.Pull = GPIO_NOPULL;
  GPIO_InitStruct.Speed = GPIO_SPEED_FREQ_LOW;
  GPIO_InitStruct.Alternate = GPIO_AF13_SAI2;
  HAL_GPIO_Init(GPIOC, &GPIO_InitStruct);

  /*Configure GPIO pin : PC7 */
  GPIO_InitStruct.Pin = GPIO_PIN_7;
  GPIO_InitStruct.Mode = GPIO_MODE_AF_PP;
  GPIO_InitStruct.Pull = GPIO_NOPULL;
  GPIO_InitStruct.Speed = GPIO_SPEED_FREQ_LOW;
  GPIO_InitStruct.Alternate = GPIO_AF2_TIM3;
  HAL_GPIO_Init(GPIOC, &GPIO_InitStruct);

  /*Configure GPIO pins : PC8 PC9 PC10 PC11
                           PC12 */
  GPIO_InitStruct.Pin = GPIO_PIN_8|GPIO_PIN_9|GPIO_PIN_10|GPIO_PIN_11
                          |GPIO_PIN_12;
  GPIO_InitStruct.Mode = GPIO_MODE_AF_PP;
  GPIO_InitStruct.Pull = GPIO_NOPULL;
  GPIO_InitStruct.Speed = GPIO_SPEED_FREQ_VERY_HIGH;
  GPIO_InitStruct.Alternate = GPIO_AF12_SDMMC1;
  HAL_GPIO_Init(GPIOC, &GPIO_InitStruct);

  /*Configure GPIO pins : PA8 PA10 */
  GPIO_InitStruct.Pin = GPIO_PIN_8|GPIO_PIN_10;
  GPIO_InitStruct.Mode = GPIO_MODE_AF_PP;
  GPIO_InitStruct.Pull = GPIO_NOPULL;
  GPIO_InitStruct.Speed = GPIO_SPEED_FREQ_VERY_HIGH;
  GPIO_InitStruct.Alternate = GPIO_AF10_OTG_FS;
  HAL_GPIO_Init(GPIOA, &GPIO_InitStruct);

  /*Configure GPIO pin : PA9 */
  GPIO_InitStruct.Pin = GPIO_PIN_9;
  GPIO_InitStruct.Mode = GPIO_MODE_INPUT;
  GPIO_InitStruct.Pull = GPIO_NOPULL;
  HAL_GPIO_Init(GPIOA, &GPIO_InitStruct);

  /*Configure GPIO pin : PD0 */
  GPIO_InitStruct.Pin = GPIO_PIN_0;
  GPIO_InitStruct.Mode = GPIO_MODE_AF_PP;
  GPIO_InitStruct.Pull = GPIO_NOPULL;
  GPIO_InitStruct.Speed = GPIO_SPEED_FREQ_VERY_HIGH;
  GPIO_InitStruct.Alternate = GPIO_AF9_CAN1;
  HAL_GPIO_Init(GPIOD, &GPIO_InitStruct);

  /*Configure GPIO pin : PD1 */
  GPIO_InitStruct.Pin = GPIO_PIN_1;
  GPIO_InitStruct.Mode = GPIO_MODE_INPUT;
  GPIO_InitStruct.Pull = GPIO_NOPULL;
  HAL_GPIO_Init(GPIOD, &GPIO_InitStruct);

  /*Configure GPIO pin : PD2 */
  GPIO_InitStruct.Pin = GPIO_PIN_2;
  GPIO_InitStruct.Mode = GPIO_MODE_AF_PP;
  GPIO_InitStruct.Pull = GPIO_NOPULL;
  GPIO_InitStruct.Speed = GPIO_SPEED_FREQ_VERY_HIGH;
  GPIO_InitStruct.Alternate = GPIO_AF12_SDMMC1;
  HAL_GPIO_Init(GPIOD, &GPIO_InitStruct);

  /*Configure GPIO pins : PB3 PB4 PB5 */
  GPIO_InitStruct.Pin = GPIO_PIN_3|GPIO_PIN_4|GPIO_PIN_5;
  GPIO_InitStruct.Mode = GPIO_MODE_AF_PP;
  GPIO_InitStruct.Pull = GPIO_NOPULL;
  GPIO_InitStruct.Speed = GPIO_SPEED_FREQ_VERY_HIGH;
  GPIO_InitStruct.Alternate = GPIO_AF6_SPI3;
  HAL_GPIO_Init(GPIOB, &GPIO_InitStruct);

  /* EXTI interrupt init*/
  HAL_NVIC_SetPriority(EXTI9_5_IRQn, 0, 0);
  HAL_NVIC_EnableIRQ(EXTI9_5_IRQn);

}

/* USER CODE BEGIN 4 */
void HAL_UART_RxCpltCallback(UART_HandleTypeDef *huart)
{
	char char_buffer[32];
	for (int i = 0; i < sizeof(buffer); i++) {
		char_buffer[i] = (char)(buffer[i]);
	}
	ssd1306_Init();
	ssd1306_SetCursor(2,16);
	ssd1306_WriteString(char_buffer, Font_7x10, White);
	ssd1306_UpdateScreen();
	HAL_UART_Receive_DMA(&huart2, buffer, 32);
}

void HAL_TIM_PeriodElapsedCallback(TIM_HandleTypeDef *htim)
{
	if (htim->Instance == htim5.Instance){
		timer5_food_count++;
		timer5_water_count++;
		//		float food_weight = floor(get_weight(&food, 10, CHANNEL_A) * 10) / 10.0;
		//		float water_weight = floor(get_weight(&water, 10, CHANNEL_A) * 10) / 10.0;
		//		if (timer5_food_count > 1 && food_weight < 10)
		if (timer5_food_count > 1)
		{
			//			release_water();
			//			release_food();
			timer5_food_count = 0;
		}
		//		if (timer5_water_count > 1 && water_weight < 10) // maybe change to container's weight
		//		{
		////			release_water();
		//			timer5_water_count = 0;
		//		}
		//		status = 0;
	}
}

void summary()
{
	line[0] = '$';
	line[30] = '\n';
	line[31] = '\0';
	int food_weight = floor(get_weight(&food, 10, CHANNEL_A) * 10); // weight*10
	HAL_I2C_Master_Receive(&hi2c1, AHT10_Adress, (uint8_t*)AHT10_RX_Data, 6, 100);	AHT10_ADC_Raw = (((uint32_t)AHT10_RX_Data[3] & 15) << 16) | ((uint32_t)AHT10_RX_Data[4] << 8) | AHT10_RX_Data[5];
	int AHT10_Temp = floor(((AHT10_ADC_Raw * 200.00 / 1048576.00) - 50.00) * 10);
	AHT10_ADC_Raw = ((uint32_t)AHT10_RX_Data[1] << 12) | ((uint32_t)AHT10_RX_Data[2] << 4) | (AHT10_RX_Data[3] >> 4);
	int AHT10_Humid = floor((AHT10_ADC_Raw*100.00/1048576.00) * 10);
	int petweight0 = floor(petweight * 10);
	int consumedfood = floor(consumed_food*10);
	int consumedwater = floor(consumed_water*10);
	consumedfood = 1343;
	consumedwater = 896;
	encode(1, AHT10_Temp, 3);
	encode(5, AHT10_Humid, 3);
	encode(9, consumedfood, 4);
	encode(14, consumedwater, 4);
	encode(19, petweight0, 6);
}

void encode(int start, int data, int length)
{
	for (int i = start + length - 1; i >= start; --i)
	{
		line[i] = data % 10;
		data /= 10;
	}
}

void display_menu(){
	if (dirty)
	{
		ssd1306_Init();
		dirty = 0;
	}

	ssd1306_SetCursor(0,2);
	ssd1306_WriteString("       MENU        ", Font_7x10, White);
	if (page == 0)
	{
		ssd1306_SetCursor(2,16);
		ssd1306_WriteString("1-Release Food", Font_7x10, White);
		ssd1306_SetCursor(2,28);
		ssd1306_WriteString("2-Release Water", Font_7x10, White);
		ssd1306_SetCursor(2,40);
		ssd1306_WriteString("3-Feed in Bowl", Font_7x10, White);
		ssd1306_SetCursor(2,52);
		ssd1306_WriteString("ENTER-Next Page", Font_7x10, White);
	}
	else if (page == 1)
	{
		ssd1306_SetCursor(2,16);
		ssd1306_WriteString("4-Real-Time Stat", Font_7x10, White);
		ssd1306_SetCursor(2,28);
		ssd1306_WriteString("5-Calibration", Font_7x10, White);
		ssd1306_SetCursor(2,40);
		ssd1306_WriteString("6-Display History", Font_7x10, White);
		ssd1306_SetCursor(2,52);
		ssd1306_WriteString("ENTER-Next Page", Font_7x10, White);
	}
	ssd1306_UpdateScreen();
}

void calibrate(hx711_t *hx711)
{
	int weight = 0;
	int x = 2; // cursor x
	keyPressed = 0;
	long int prevOffset = 0;

	ssd1306_Init();
	ssd1306_SetCursor(2,16);
	ssd1306_WriteString("REMOVE EVERYTHING", Font_7x10, White);
	ssd1306_SetCursor(2,28);
	ssd1306_WriteString("FROM THE FOOD BOWL", Font_7x10, White);
	ssd1306_SetCursor(2,40);
	ssd1306_WriteString("THEN PRESS ENTER", Font_7x10, White);
	ssd1306_UpdateScreen();

	while(1)
	{
		if (is_press && keyPressed == 35)
		{
			ssd1306_Init();
			ssd1306_SetCursor(2,16);
			ssd1306_WriteString("Calibrating...", Font_7x10, White);
			ssd1306_UpdateScreen();
			set_scale(hx711, 1, 1);
			prevOffset = hx711->Aoffset;
			tare(hx711, 50, CHANNEL_A);
			ssd1306_Init();
			ssd1306_SetCursor(2,16);
			ssd1306_WriteString("PUT KNOWN WEIGHT", Font_7x10, White);
			ssd1306_SetCursor(2,28);
			ssd1306_WriteString("AND ENTER THE MASS", Font_7x10, White);
			ssd1306_SetCursor(2,40);
			ssd1306_WriteString("THEN PRESS ENTER", Font_7x10, White);
			ssd1306_UpdateScreen();
			is_press = 0;
			keyPressed = 0;
			break;
		}
		else if (is_press && keyPressed == 68)
		{
			dirty = 1;
			status = 0;
			return;
		}
	}

	while(1)
	{
		if (!is_press)continue;
		if (keyPressed <= 57 && keyPressed >=48)
		{
			ssd1306_SetCursor(x,52);
			char a[4];
			itoa(keyPressed - 48, a, 10);
			ssd1306_WriteString(a, Font_7x10, White);
			ssd1306_UpdateScreen();
			weight = weight * 10 + keyPressed - 48;
			x += 7;
		}
		else if (keyPressed == 68) // D
		{
			hx711->Aoffset = prevOffset;
			dirty = 1;
			status = 0;
			return;
		}
		else if (keyPressed == 42) // * backspace
		{
			x -= 7;
			ssd1306_SetCursor(x,52);
			ssd1306_WriteString(" ", Font_7x10, White);
			ssd1306_UpdateScreen();
			weight = weight / 10;
		}
		else if (keyPressed == 35) // #
		{
			//modify food
			ssd1306_Init();
			ssd1306_SetCursor(2,16);
			ssd1306_WriteString("Calibrating...", Font_7x10, White);
			ssd1306_UpdateScreen();
			int value = get_value(hx711, 50, CHANNEL_A);
			hx711->Ascale = (float)value / (float)weight;
			ssd1306_Init();
			ssd1306_SetCursor(2,16);
			ssd1306_WriteString("Calibration Done", Font_7x10, White);
			ssd1306_UpdateScreen();
			dirty = 1;
			break;
		}
		is_press = 0;
		keyPressed = 0;
	}
}

void release_food(uint32_t *tim4_ccr2)
{
	if(dirty)
	{
		ssd1306_Init();
		dirty = 0;
	}
	ssd1306_SetCursor(2,16);
	float food_weight0 = floor(get_weight(&food, 10, CHANNEL_A) * 10) / 10.0;
	ssd1306_WriteString("Releasing Food...", Font_7x10, White);
	ssd1306_UpdateScreen();
	dirty = 1;

	*tim4_ccr2 &= ~CCR_MASK;
	*tim4_ccr2 |= 318;
	HAL_Delay(50);

	while(1)
	{
		HAL_Delay(1);
		if (HAL_GPIO_ReadPin(GPIOD, GPIO_PIN_1))
		{
			*tim4_ccr2 &= ~CCR_MASK;
			*tim4_ccr2 |= 300;
			break;
		}
	}
	float food_weight1 = floor(get_weight(&food, 10, CHANNEL_A) * 10) / 10.0;
	consumed_food = consumed_food + food_weight1 - food_weight0;
}

void release_water()
{
	if(dirty)
	{
		ssd1306_Init();
		dirty = 0;
	}
	ssd1306_SetCursor(2,16);
	ssd1306_WriteString("Releasing Water...", Font_7x10, White);
	ssd1306_UpdateScreen();
	dirty = 1;
	float water_weight0 = floor(get_weight(&water, 10, CHANNEL_A) * 10) / 10.0;
	HAL_GPIO_WritePin(GPIOB, GPIO_PIN_2, 1);
	HAL_GPIO_WritePin(GPIOB, GPIO_PIN_6, 0);
	//	HAL_Delay(1000*30);
	HAL_Delay(10000);
	HAL_GPIO_WritePin(GPIOB, GPIO_PIN_2, 0);
	HAL_GPIO_WritePin(GPIOB, GPIO_PIN_6, 0);
	float water_weight1 = floor(get_weight(&water, 10, CHANNEL_A) * 10) / 10.0;
	consumed_water = consumed_water + water_weight1 - water_weight0;
}

#ifdef __GNUC__
#define PUTCHAR_PROTOTYPE int __io_putchar(int ch)
//#define GETCHAR_PROTOTYPE int __io_getchar(void)
#else
#define PUTCHAR_PROTOTYPE int fputc(int ch, FILE *f)
//  #define GETCHAR_PROTOTYPE int fgetc(FILE *f)
#endif /* __GNUC__ */
PUTCHAR_PROTOTYPE
{
	HAL_UART_Transmit(&hlpuart1, (uint8_t *)&ch, 1, 0xFFFF);
	return ch;
}

void HAL_GPIO_EXTI_Callback(uint16_t GPIO_Pin)
{
	currentMillis = HAL_GetTick();
	if (currentMillis - previousMillis > 200) {
		/*Configure GPIO pins : PB6 PB7 PB8 PB9 to GPIO_INPUT*/
		//    GPIO_InitStructPrivate.Pin = GPIO_PIN_6|GPIO_PIN_7|GPIO_PIN_8|GPIO_PIN_9;
		//    GPIO_InitStructPrivate.Mode = GPIO_MODE_INPUT;
		//    GPIO_InitStructPrivate.Pull = GPIO_NOPULL;
		//    GPIO_InitStructPrivate.Speed = GPIO_SPEED_FREQ_LOW;
		//    HAL_GPIO_Init(GPIOE, &GPIO_InitStructPrivate);

		HAL_GPIO_WritePin(GPIOE, GPIO_PIN_15, 1);
		HAL_GPIO_WritePin(GPIOE, GPIO_PIN_14, 0);
		HAL_GPIO_WritePin(GPIOE, GPIO_PIN_13, 0);
		HAL_GPIO_WritePin(GPIOE, GPIO_PIN_12, 0);
		if(GPIO_Pin == GPIO_PIN_6 && HAL_GPIO_ReadPin(GPIOE, GPIO_PIN_6))
		{
			keyPressed = 68; //ASCII value of D
		}
		else if(GPIO_Pin == GPIO_PIN_7 && HAL_GPIO_ReadPin(GPIOE, GPIO_PIN_7))
		{
			keyPressed = 67; //ASCII value of C
		}
		else if(GPIO_Pin == GPIO_PIN_8 && HAL_GPIO_ReadPin(GPIOE, GPIO_PIN_8))
		{
			keyPressed = 66; //ASCII value of B
		}
		else if(GPIO_Pin == GPIO_PIN_9 && HAL_GPIO_ReadPin(GPIOE, GPIO_PIN_9))
		{
			keyPressed = 65; //ASCII value of A
		}

		HAL_GPIO_WritePin(GPIOE, GPIO_PIN_15, 0);
		HAL_GPIO_WritePin(GPIOE, GPIO_PIN_14, 1);
		HAL_GPIO_WritePin(GPIOE, GPIO_PIN_13, 0);
		HAL_GPIO_WritePin(GPIOE, GPIO_PIN_12, 0);
		if(GPIO_Pin == GPIO_PIN_6 && HAL_GPIO_ReadPin(GPIOE, GPIO_PIN_6))
		{
			keyPressed = 35; //ASCII value of #
		}
		else if(GPIO_Pin == GPIO_PIN_7 && HAL_GPIO_ReadPin(GPIOE, GPIO_PIN_7))
		{
			keyPressed = 57; //ASCII value of 9
		}
		else if(GPIO_Pin == GPIO_PIN_8 && HAL_GPIO_ReadPin(GPIOE, GPIO_PIN_8))
		{
			keyPressed = 54; //ASCII value of 6
		}
		else if(GPIO_Pin == GPIO_PIN_9 && HAL_GPIO_ReadPin(GPIOE, GPIO_PIN_9))
		{
			keyPressed = 51; //ASCII value of 3
		}

		HAL_GPIO_WritePin(GPIOE, GPIO_PIN_15, 0);
		HAL_GPIO_WritePin(GPIOE, GPIO_PIN_14, 0);
		HAL_GPIO_WritePin(GPIOE, GPIO_PIN_13, 1);
		HAL_GPIO_WritePin(GPIOE, GPIO_PIN_12, 0);
		if(GPIO_Pin == GPIO_PIN_6 && HAL_GPIO_ReadPin(GPIOE, GPIO_PIN_6))
		{
			keyPressed = 48; //ASCII value of 0
		}
		else if(GPIO_Pin == GPIO_PIN_7 && HAL_GPIO_ReadPin(GPIOE, GPIO_PIN_7))
		{
			keyPressed = 56; //ASCII value of 8
		}
		else if(GPIO_Pin == GPIO_PIN_8 && HAL_GPIO_ReadPin(GPIOE, GPIO_PIN_8))
		{
			keyPressed = 53; //ASCII value of 5
		}
		else if(GPIO_Pin == GPIO_PIN_9 && HAL_GPIO_ReadPin(GPIOE, GPIO_PIN_9))
		{
			keyPressed = 50; //ASCII value of 2
		}

		HAL_GPIO_WritePin(GPIOE, GPIO_PIN_15, 0);
		HAL_GPIO_WritePin(GPIOE, GPIO_PIN_14, 0);
		HAL_GPIO_WritePin(GPIOE, GPIO_PIN_13, 0);
		HAL_GPIO_WritePin(GPIOE, GPIO_PIN_12, 1);
		if(GPIO_Pin == GPIO_PIN_6 && HAL_GPIO_ReadPin(GPIOE, GPIO_PIN_6))
		{
			keyPressed = 42; //ASCII value of *
		}
		else if(GPIO_Pin == GPIO_PIN_7 && HAL_GPIO_ReadPin(GPIOE, GPIO_PIN_7))
		{
			keyPressed = 55; //ASCII value of 7
		}
		else if(GPIO_Pin == GPIO_PIN_8 && HAL_GPIO_ReadPin(GPIOE, GPIO_PIN_8))
		{
			keyPressed = 52; //ASCII value of 4
		}
		else if(GPIO_Pin == GPIO_PIN_9 && HAL_GPIO_ReadPin(GPIOE, GPIO_PIN_9))
		{
			keyPressed = 49; //ASCII value of 1
		}

		HAL_GPIO_WritePin(GPIOE, GPIO_PIN_15, 1);
		HAL_GPIO_WritePin(GPIOE, GPIO_PIN_14, 1);
		HAL_GPIO_WritePin(GPIOE, GPIO_PIN_13, 1);
		HAL_GPIO_WritePin(GPIOE, GPIO_PIN_12, 1);
		/*Configure GPIO pins : PB6 PB7 PB8 PB9 back to EXTI*/
		GPIO_InitStructPrivate.Mode = GPIO_MODE_IT_RISING;
		GPIO_InitStructPrivate.Pull = GPIO_PULLDOWN;
		HAL_GPIO_Init(GPIOE, &GPIO_InitStructPrivate);
		//    if(keyPressed != 0){
		//
		//    }
		//    keyPressed = 0;
		is_press = 1;
		previousMillis = currentMillis;
	}

}
/* USER CODE END 4 */

void Error_Handler(void)
{
	__disable_irq();
	while (1)
	{
	}
}
